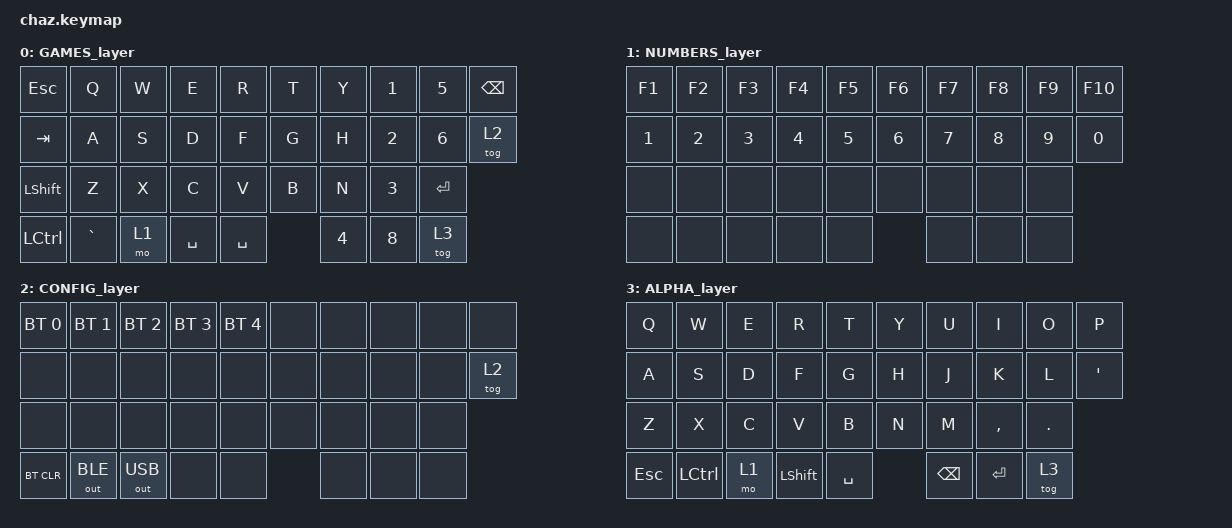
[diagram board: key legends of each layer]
a/*
 * Copyright (c) 2023 The ZMK Contributors
 *
 * SPDX-License-Identifier: MIT
 */

#include <behaviors.dtsi>
#include <dt-bindings/zmk/keys.h>
#include <dt-bindings/zmk/bt.h>
#include <dt-bindings/zmk/outputs.h>

#define GAMES       0
#define NUMBERS     1
#define CONFIG      2
#define ALPHA       3

&mt {
    flavor = "tap-preferred";
    tapping_term_ms = <180>;
};

&lt {
    tapping_term_ms = <150>;
};

/ {
    keymap {
        compatible = "zmk,keymap";

        GAMES_layer {
            bindings = <
                &kp ESC     &kp Q       &kp W   &kp E       &kp R       &kp T       &kp Y       &kp N1     &kp N5     &kp BSPC
                &kp TAB     &kp A       &kp S   &kp D       &kp F       &kp G       &kp H       &kp N2     &kp N6     &tog 2
                &kp LSHIFT  &kp Z       &kp X   &kp C       &kp V       &kp B       &kp N       &kp N3     &kp RET
                &kp LCTRL   &kp GRAVE   &mo 1   &kp SPACE   &kp SPACE               &kp N4      &kp N8     &tog 3
            >;
        };
        NUMBERS_layer {
            bindings = <
                &kp F1      &kp F2      &kp F3      &kp F4      &kp F5      &kp F6       &kp F7     &kp F8      &kp F9     &kp F10
                &kp N1      &kp N2      &kp N3      &kp N4      &kp N5      &kp N6       &kp N7     &kp N8      &kp N9     &kp N0
                &none       &none       &none       &none       &none       &none        &none      &none       &none
                &none       &none       &none       &none       &none       &none        &none      &none 
            >;
        };
        CONFIG_layer {
            bindings = <
                &bt BT_SEL 0    &bt BT_SEL 1       &bt BT_SEL 2       &bt BT_SEL 3       &bt BT_SEL 4       &none        &none      &none       &none   &none
                &none       &none       &none       &none       &none       &none        &none      &none       &none   &tog 2
                &none       &none       &none       &none       &none       &none        &none      &none       &none
                &bt BT_CLR       &out OUT_BLE       &out OUT_USB       &none       &none       &none        &none      &none 
            >;
        };  
        ALPHA_layer {
            bindings = <
                &kp Q   &kp W   &kp E       &kp R       &kp T        &kp Y     &kp U   &kp I     &kp O &kp P
                &kp A   &kp S   &kp D       &kp F       &kp G        &kp H     &kp J   &kp K     &kp L &kp SQT
                &kp Z   &kp X   &kp C       &kp V       &kp B        &kp N     &kp M   &kp COMMA &kp DOT
                &kp ESC &kp LCTRL &mo 1 &kp LSHIFT &kp SPACE &kp BSPC &kp RET &tog 3
            >;
        };              
    };
};
